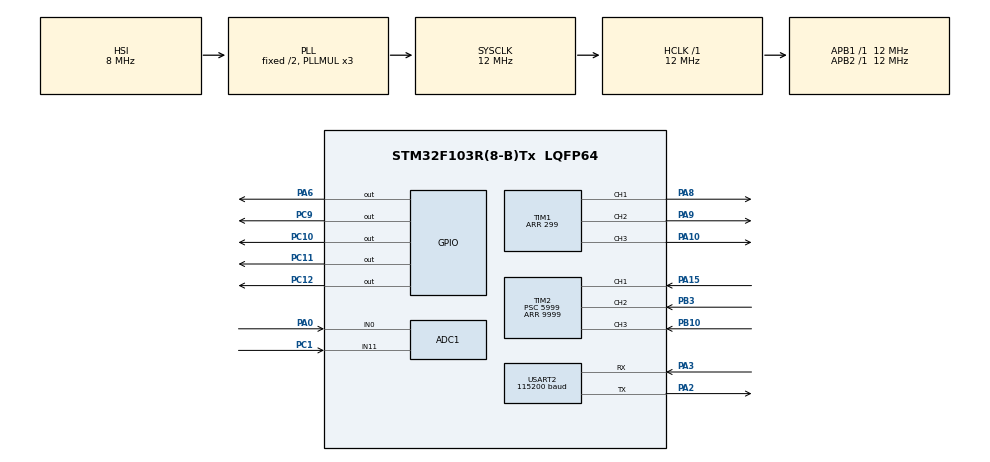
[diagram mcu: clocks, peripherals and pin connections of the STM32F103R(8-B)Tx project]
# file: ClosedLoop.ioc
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ADC1.Channel-0\#ChannelRegularConversion=ADC_CHANNEL_0
ADC1.Channel-1\#ChannelRegularConversion=ADC_CHANNEL_11
ADC1.NbrOfConversion=2
ADC1.NbrOfConversionFlag=1
ADC1.Rank-0\#ChannelRegularConversion=1
ADC1.Rank-1\#ChannelRegularConversion=2
ADC1.SamplingTime-0\#ChannelRegularConversion=ADC_SAMPLETIME_13CYCLES_5
ADC1.SamplingTime-1\#ChannelRegularConversion=ADC_SAMPLETIME_13CYCLES_5
ADC1.master=1
Dma.ADC1.0.Direction=DMA_PERIPH_TO_MEMORY
Dma.ADC1.0.Instance=DMA1_Channel1
Dma.ADC1.0.MemDataAlignment=DMA_MDATAALIGN_HALFWORD
Dma.ADC1.0.MemInc=DMA_MINC_ENABLE
Dma.ADC1.0.Mode=DMA_NORMAL
Dma.ADC1.0.PeriphDataAlignment=DMA_PDATAALIGN_HALFWORD
Dma.ADC1.0.PeriphInc=DMA_PINC_DISABLE
Dma.ADC1.0.Priority=DMA_PRIORITY_LOW
Dma.Request0=ADC1
Mcu.Family=STM32F1
Mcu.Name=STM32F103R(8-B)Tx
Mcu.Package=LQFP64
NVIC.ADC1_2_IRQn=true\:0\:0\:false\:false\:true\:true\:true\:true
NVIC.DMA1_Channel1_IRQn=true\:0\:0\:false\:false\:true\:false\:true\:true
NVIC.PriorityGroup=NVIC_PRIORITYGROUP_4
NVIC.TIM2_IRQn=true\:0\:0\:false\:false\:true\:true\:true\:true
NVIC.USART2_IRQn=true\:0\:0\:false\:false\:true\:true\:true\:true
PA0-WKUP.Signal=ADCx_IN0
PA10.Signal=S_TIM1_CH3
PA13.Mode=Serial_Wire
PA13.Signal=SYS_JTMS-SWDIO
PA14.Mode=Serial_Wire
PA14.Signal=SYS_JTCK-SWCLK
PA15.Signal=S_TIM2_CH1_ETR
PA2.Mode=Asynchronous
PA2.Signal=USART2_TX
PA3.Mode=Asynchronous
PA3.Signal=USART2_RX
PA6.Signal=GPIO_Output
PA8.Signal=S_TIM1_CH1
PA9.Signal=S_TIM1_CH2
PB10.Signal=S_TIM2_CH3
PB3.Signal=S_TIM2_CH2
PC1.Signal=ADCx_IN11
PC10.Signal=GPIO_Output
PC11.Signal=GPIO_Output
PC12.Signal=GPIO_Output
PC9.GPIO_PuPd=GPIO_NOPULL
PC9.Signal=GPIO_Output
PD0-OSC_IN.Mode=HSE-External-Oscillator
PD0-OSC_IN.Signal=RCC_OSC_IN
PD1-OSC_OUT.Mode=HSE-External-Oscillator
PD1-OSC_OUT.Signal=RCC_OSC_OUT
ProjectManager.HeapSize=0x200
ProjectManager.StackSize=0x400
ProjectManager.TargetToolchain=MDK-ARM V5.32
RCC.AHBFreq_Value=12000000
RCC.APB1Freq_Value=12000000
RCC.APB1TimFreq_Value=12000000
RCC.APB2Freq_Value=12000000
RCC.APB2TimFreq_Value=12000000
RCC.HCLKFreq_Value=12000000
RCC.PLLMUL=RCC_PLL_MUL3
RCC.SYSCLKFreq_VALUE=12000000
RCC.SYSCLKSource=RCC_SYSCLKSOURCE_PLLCLK
RCC.USBFreq_Value=12000000
SH.ADCx_IN0.0=ADC1_IN0,IN0
SH.ADCx_IN11.0=ADC1_IN11,IN11
SH.S_TIM1_CH1.0=TIM1_CH1,PWM Generation1 CH1
SH.S_TIM1_CH2.0=TIM1_CH2,PWM Generation2 CH2
SH.S_TIM1_CH3.0=TIM1_CH3,PWM Generation3 CH3
SH.S_TIM2_CH1_ETR.0=TIM2_CH1,Input_Capture1_from_TI1
SH.S_TIM2_CH2.0=TIM2_CH2,Input_Capture2_from_TI2
SH.S_TIM2_CH3.0=TIM2_CH3,Input_Capture3_from_TI3
TIM1.Channel-PWM\ Generation1\ CH1=TIM_CHANNEL_1
TIM1.Channel-PWM\ Generation2\ CH2=TIM_CHANNEL_2
TIM1.Channel-PWM\ Generation3\ CH3=TIM_CHANNEL_3
TIM1.Period=299
TIM2.Channel-Input_Capture1_from_TI1=TIM_CHANNEL_1
TIM2.Channel-Input_Capture2_from_TI2=TIM_CHANNEL_2
TIM2.Channel-Input_Capture3_from_TI3=TIM_CHANNEL_3
TIM2.Period=9999
TIM2.Prescaler=5999
USART2.BaudRate=115200
USART2.VirtualMode=VM_ASYNC
VP_TIM1_VS_ClockSourceINT.Mode=Internal
VP_TIM2_VS_ClockSourceINT.Mode=Internal
VP_TIM2_VS_XOR.Mode=XOR_enable
board=custom

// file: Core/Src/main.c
/* USER CODE BEGIN Header */
/**
  ******************************************************************************
  * @file           : main.c
  * @brief          : Main program body
  ******************************************************************************
  * @attention
  *
  * Copyright (c) 2024 STMicroelectronics.
  * All rights reserved.
  *
  * This software is licensed under terms that can be found in the LICENSE file
  * in the root directory of this software component.
  * If no LICENSE file comes with this software, it is provided AS-IS.
  *
  ******************************************************************************
  */
/* USER CODE END Header */
#include "main.h"
#include "adc.h"
#include "dma.h"
#include "tim.h"
#include "usart.h"
#include "gpio.h"

/* USER CODE BEGIN Includes */
#include <stdio.h>
#include <stdlib.h>
#include "Myproject.h"

/* USER CODE END Includes */

/* USER CODE BEGIN PD */
//extern float voltage_power_supply;
//extern float voltage_limit;
//extern int  pole_pairs;
//extern float velocity_limit;
//extern float voltage_sensor_align;
//extern MotionControlType controller;
//extern TorqueControlType torque_controller;
/* USER CODE END PD */

/* USER CODE BEGIN PV */
uint8_t Rx_Buffer[32]; //接收缓存区
uint16_t Rx_Flag = 0;//接收标志位
float target;//电机目标转速
float f3[3];

uint16_t ad_value[2];//电流采样存储
uint16_t current_offset[10];
uint16_t offset_channel_1=0;
uint16_t offset_channel_2=0;
int16_t current_a_count;
int16_t current_b_count;
/* USER CODE END PV */

void SystemClock_Config(void);

/* USER CODE BEGIN 0 */
void HAL_ADC_ConvCpltCallback(ADC_HandleTypeDef* hadc)
{
	if(hadc == &hadc1)
	{
		current_a_count = ad_value[0]-offset_channel_1;
		current_b_count = ad_value[1]-offset_channel_2;
//		printf("[0]:%d\r\n",ad_value[0]-offset_channel_1);
//		printf("[1]:%d\r\n",ad_value[1]-offset_channel_2);
		//printf("value:%d",HAL_ADC_GetValue(&hadc1));
	}
}

void HAL_UART_RxCpltCallback(UART_HandleTypeDef *huart)//USART接收回调函数
{
	if(huart->Instance == USART2)
	{
		static uint16_t index = 0;

		index++;
		if(Rx_Flag != 2)//接收未完成
		{
			if(Rx_Flag == 1)//接收到了\r
			{
				if(Rx_Buffer[index-1] != '\n')
				{
					Rx_Flag = 0;//接收错误，重新开始
					index = 0;
				}
				else
				{
					Rx_Flag = 2;//接收完成  最后一个字节放'0’
					Rx_Buffer[31]='\0';
					index = 0;
				}
			}
			else
			{
				if(Rx_Buffer[index-1] == '\r') Rx_Flag = 1;
			}

		}
		HAL_UART_Receive_IT(&huart2,Rx_Buffer+index,1);
	}
}

void commander_run(void)
{
	if(Rx_Flag == 2)
	{
		if(Rx_Buffer[0] == 'T')
		{
			target=atof((const char *)(Rx_Buffer+1));
			printf ("Rx=%.4f\r\n",target);
		}
		else
		{
			printf ("input error\r\n");
		}
		Rx_Flag = 0;
	}
}

void HAL_TIM_IC_CaptureCallback(TIM_HandleTypeDef *htim)
{
	if(htim->Instance == TIM2)
	{
		if (htim->Channel == HAL_TIM_ACTIVE_CHANNEL_1)
		{
			updateState();
		}

	}
}

//void HAL_TIM_PeriodElapsedCallback(TIM_HandleTypeDef *htim)//for test
//{
//	if(htim->Instance==TIM2)
//	{
//		//HAL_ADC_Start_DMA(&hadc1,(uint32_t*)(ad_value),2);
//		//printf("$%f;",getVelocity());
//		f3[0]=getVelocity();
//		f3[1]=voltage.q;
//		f3[2]=voltage.d;
//		Vofa_JustFloat(f3,3);
//	}
//}
/* USER CODE END 0 */

int main(void)
{

  /* MCU Configuration--------------------------------------------------------*/

  /* Reset of all peripherals, Initializes the Flash interface and the Systick. */
  HAL_Init();

  /* Configure the system clock */
  SystemClock_Config();

  /* Initialize all configured peripherals */
  MX_GPIO_Init();
  MX_DMA_Init();
  MX_TIM1_Init();
  MX_TIM2_Init();
  MX_USART2_UART_Init();
  MX_ADC1_Init();
  /* USER CODE BEGIN 2 */
	voltage_power_supply=24;   //V
	voltage_limit=5;           //V，最大值小于voltage_power_supply/1.732
							   //开环模式中Uq=voltage_limit;dq轴电流的限幅值;Type_voltage模式的速度限幅值
	velocity_limit=20;         //rad/s 开环位置模式和位置模式中使用，作为PI limit
	current_limit=10;          //A，foc_current和dc_current模式限制电流，不能为0。速度模式和位置模式起作用
	//voltage_sensor_align=2;    //V  重要参数，航模电机大功率0.5-1，云台电机小功率2-3
	torque_controller = Type_foc_current; //Type_dc_current;//Type_foc_current;//Type_voltage;
	controller=Type_velocity;  //Type_angle; //Type_torque; //Type_velocity;
	pole_pairs=7;              //极对数

	HAL_TIM_PWM_Start(&htim1,TIM_CHANNEL_1);
    HAL_TIM_PWM_Start(&htim1,TIM_CHANNEL_2);
    HAL_TIM_PWM_Start(&htim1,TIM_CHANNEL_3);

	//Motor Enable
	HAL_GPIO_WritePin(GPIOC,GPIO_PIN_10,GPIO_PIN_SET);//EN1
	HAL_GPIO_WritePin(GPIOC,GPIO_PIN_11,GPIO_PIN_SET);//EN2
	HAL_GPIO_WritePin(GPIOC,GPIO_PIN_12,GPIO_PIN_SET);//EN3
	HAL_GPIO_WritePin(GPIOA,GPIO_PIN_6,GPIO_PIN_SET);//DIAG_EN——全桥使能

	HAL_UART_Receive_IT(&huart2,Rx_Buffer,1);

	//配置TIM2 CC1中断的一部分
	TIM_SlaveConfigTypeDef SlaveConfig;
	SlaveConfig.SlaveMode =  TIM_SLAVEMODE_DISABLE;
	SlaveConfig.InputTrigger = TIM_TS_TI1F_ED;
	SlaveConfig.TriggerPolarity = TIM_TRIGGERPOLARITY_BOTHEDGE;
	HAL_TIM_SlaveConfigSynchronization(&htim2, &SlaveConfig);

	HAL_TIM_Base_Start_IT(&htim2);
	HAL_TIM_IC_Start_IT(&htim2, TIM_CHANNEL_1);

	PID_init();
	LPF_init();

	SysTick_Config(16777215);  // 设置SysTick重装载值,最大值16777215

	target = 100;//初始转速
	for(int i=0;i<5;i++)//确定电流采样初始值,采样5次求均值
	{
		HAL_ADC_Start_DMA(&hadc1,(uint32_t*)(current_offset+2*i),2);
	}
	printf("Motor ready\r\n");//给DMA写入的时间，实验证明如果不加这句，current_offset[9]此时还未写入

	offset_channel_1 = (current_offset[0]+current_offset[2]+current_offset[4]+current_offset[6]+current_offset[8])/5;
	offset_channel_2 = (current_offset[1]+current_offset[3]+current_offset[5]+current_offset[7]+current_offset[9])/5;
	printf("HCLK Frequency: %u\n", HAL_RCC_GetHCLKFreq());
  /* USER CODE END 2 */

  /* Infinite loop */
  while (1)
  {

    /* USER CODE BEGIN 3 */
	  //不能用HAL_Delay()函数
	  move(target);
	  loopFOC();
	  commander_run();
//		f3[0]=getVelocity();
//		f3[1]=voltage.q;
//		f3[2]=voltage.d;
//		Vofa_JustFloat(f3,3);
  }
  /* USER CODE END 3 */
}

void SystemClock_Config(void)
{
  RCC_OscInitTypeDef RCC_OscInitStruct = {0};
  RCC_ClkInitTypeDef RCC_ClkInitStruct = {0};
  RCC_PeriphCLKInitTypeDef PeriphClkInit = {0};

  /** Initializes the RCC Oscillators according to the specified parameters
  * in the RCC_OscInitTypeDef structure.
  */
  RCC_OscInitStruct.OscillatorType = RCC_OSCILLATORTYPE_HSI;
  RCC_OscInitStruct.HSIState = RCC_HSI_ON;
  RCC_OscInitStruct.HSICalibrationValue = RCC_HSICALIBRATION_DEFAULT;
  RCC_OscInitStruct.PLL.PLLState = RCC_PLL_ON;
  RCC_OscInitStruct.PLL.PLLSource = RCC_PLLSOURCE_HSI_DIV2;
  RCC_OscInitStruct.PLL.PLLMUL = RCC_PLL_MUL3;
  if (HAL_RCC_OscConfig(&RCC_OscInitStruct) != HAL_OK)
  {
    Error_Handler();
  }

  /** Initializes the CPU, AHB and APB buses clocks
  */
  RCC_ClkInitStruct.ClockType = RCC_CLOCKTYPE_HCLK|RCC_CLOCKTYPE_SYSCLK
                              |RCC_CLOCKTYPE_PCLK1|RCC_CLOCKTYPE_PCLK2;
  RCC_ClkInitStruct.SYSCLKSource = RCC_SYSCLKSOURCE_PLLCLK;
  RCC_ClkInitStruct.AHBCLKDivider = RCC_SYSCLK_DIV1;
  RCC_ClkInitStruct.APB1CLKDivider = RCC_HCLK_DIV1;
  RCC_ClkInitStruct.APB2CLKDivider = RCC_HCLK_DIV1;

  if (HAL_RCC_ClockConfig(&RCC_ClkInitStruct, FLASH_LATENCY_0) != HAL_OK)
  {
    Error_Handler();
  }
  PeriphClkInit.PeriphClockSelection = RCC_PERIPHCLK_ADC;
  PeriphClkInit.AdcClockSelection = RCC_ADCPCLK2_DIV2;
  if (HAL_RCCEx_PeriphCLKConfig(&PeriphClkInit) != HAL_OK)
  {
    Error_Handler();
  }
}

void Error_Handler(void)
{
  __disable_irq();
  while (1)
  {
  }
}
